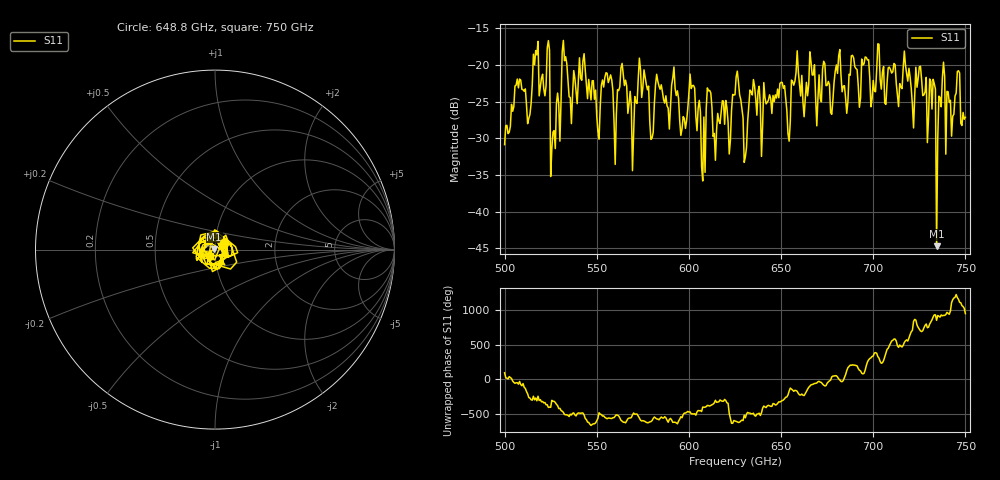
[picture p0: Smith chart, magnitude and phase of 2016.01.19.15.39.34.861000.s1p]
!Created with skrf (http://scikit-rf.org).
# GHz S RI R 50.0
!freq ReS11 ImS11
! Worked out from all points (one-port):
!   401 points, 500 GHz to 750 GHz, reference 50 ohm
!   lowest |S11| = -44.7 dB at 734.4 GHz (marker M1), VSWR 1.01, Z = 49.6 + j0.414 ohm
!   |S11| at or under -10 dB: start of sweep to end of sweep
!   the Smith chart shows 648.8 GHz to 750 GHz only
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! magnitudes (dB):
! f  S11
! 500 GHz  -30.9
! 507.5 GHz  -23.1
! 513.1 GHz  -27.3
! 516.9 GHz  -18.0
! 523.1 GHz  -17.7
! 526.2 GHz  -29.1
! 531.2 GHz  -18.2
! 550.6 GHz  -29.1
! 562.5 GHz  -23.0
! 568.8 GHz  -25.6
! 574.4 GHz  -24.4
! 580 GHz  -30.0
! 583.1 GHz  -22.2
! 593.8 GHz  -23.5
! 601.9 GHz  -22.8
! 607.5 GHz  -35.8
! 610.6 GHz  -23.5
! 614.4 GHz  -33.0
! 625 GHz  -24.1
! 630.6 GHz  -32.5
! 634.4 GHz  -24.1
! 656.2 GHz  -22.2
! 687.5 GHz  -21.4
! 718.8 GHz  -22.2
! 732.5 GHz  -21.9
! 734.4 GHz  -44.7
! 737.5 GHz  -21.8
! 750 GHz  -27.1
